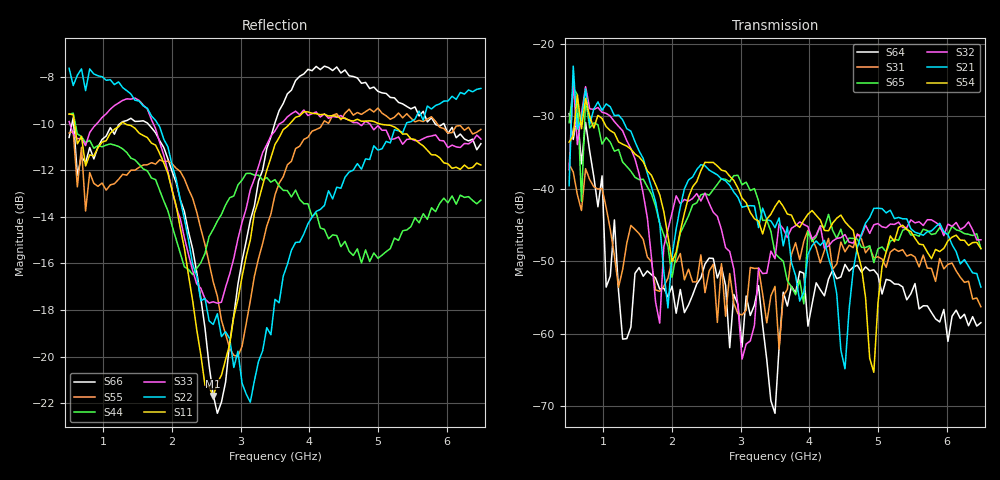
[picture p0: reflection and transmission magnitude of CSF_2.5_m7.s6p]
!Keysight Technologies,M9804A,MY58100912,A.14.10.03
!Date: Thursday, April 27, 2023 10:28:33
!Correction: S11(C  6-Port  )
!S12(C  6-Port  )
!S13(C  6-Port  )
!S14(C  6-Port  )
!S15(C  6-Port  )
!S16(C  6-Port  )
!S21(C  6-Port  )
!S22(C  6-Port  )
!S23(C  6-Port  )
!S24(C  6-Port  )
!S25(C  6-Port  )
!S26(C  6-Port  )
!S31(C  6-Port  )
!S32(C  6-Port  )
!S33(C  6-Port  )
!S34(C  6-Port  )
!S35(C  6-Port  )
!S36(C  6-Port  )
!S41(C  6-Port  )
!S42(C  6-Port  )
!S43(C  6-Port  )
!S44(C  6-Port  )
!S45(C  6-Port  )
!S46(C  6-Port  )
!S51(C  6-Port  )
!S52(C  6-Port  )
!S53(C  6-Port  )
!S54(C  6-Port  )
!S55(C  6-Port  )
!S56(C  6-Port  )
!S61(C  6-Port  )
!S62(C  6-Port  )
!S63(C  6-Port  )
!S64(C  6-Port  )
!S65(C  6-Port  )
!S66(C  6-Port  )
!S6P File: Measurement: :
# Hz S  RI  R 50
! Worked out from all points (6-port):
!   101 points, 500 MHz to 6.5 GHz, reference 50 ohm
!   strongest paths, dB at 500 MHz, 2 GHz, 3.5 GHz, 5 GHz, 6.5 GHz:
!     S54: -33.6, -50.1, -42.5, -55.8, -48.3
!     S21: -39.6, -49.3, -45.4, -42.7, -53.6
!     S32: -37.4, -43.3, -49.7, -44.8, -47.0
!     S65: -30.9, -52.2, -48.9, -48.3, -48.3
!     S31: -36.6, -49.8, -53.5, -49.4, -56.3
!     S64: -29.7, -53.4, -71.0, -51.9, -58.5
!   lowest |S11| = -21.7 dB at 2.6 GHz (marker M1), VSWR 1.18, Z = 42.7 + j2.09 ohm
!   |S11| at or under -10 dB: 578.4 MHz to 1.26 GHz (682 MHz wide, 74.2 % of centre); 1.315 GHz to 3.717 GHz (2.401 GHz wide, 95.4 % of centre); 5.016 GHz to end of sweep
